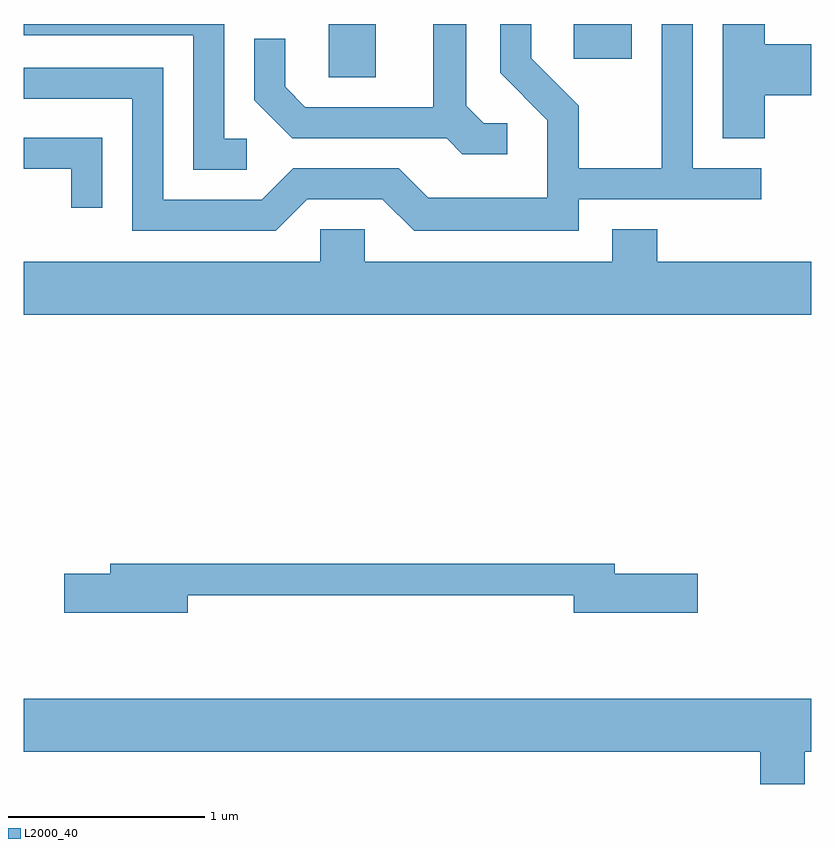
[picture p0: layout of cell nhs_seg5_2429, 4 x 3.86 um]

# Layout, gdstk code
import gdstk
lib = gdstk.Library(unit=1e-6, precision=1e-09)
def R(c, l, rs):  # rectangles x0, y0, x1, y1
    for r in rs: c.add(gdstk.rectangle(r[:2], r[2:], *l))
def P(c, l, *ps):  # polygons
    for p in ps: c.add(gdstk.Polygon(p, *l))
L2000_40 = (2000, 40)

nhs_seg5_2429 = lib.new_cell('nhs_seg5_2429')
R(nhs_seg5_2429, L2000_40, [(259.161,1435.801,259.399,1436.072), (260.406,1435.896,260.699,1436.072)])
P(nhs_seg5_2429, L2000_40, [(260.068,1435.569),(259.947,1435.569),(259.859,1435.657),(259.859,1436.072),(259.691,1436.072),(259.691,1435.649),(259.041,1435.649),(258.939,1435.752),(258.939,1435.998),(258.781,1435.998),(258.781,1435.684),(258.974,1435.491),(259.759,1435.491),(259.839,1435.411),(260.068,1435.411)],
  [(259.052,1435.181),(259.433,1435.181),(259.594,1435.021),(260.429,1435.021),(260.429,1435.181),(261.358,1435.181),(261.358,1435.339),(261.009,1435.339),(261.009,1436.072),(260.851,1436.072),(260.851,1435.339),(260.429,1435.339),(260.429,1435.657),(260.189,1435.897),(260.189,1436.072),(260.031,1436.072),(260.031,1435.824),(260.271,1435.584),(260.271,1435.189),(259.666,1435.189),(259.517,1435.339),(258.979,1435.339),(258.819,1435.179),(258.319,1435.179),(258.319,1435.849),(257.611,1435.849),(257.611,1435.691),(258.161,1435.691),(258.161,1435.021),(258.892,1435.021)],
  [(258.743,1435.489),(258.629,1435.489),(258.629,1436.072),(257.611,1436.072),(257.611,1436.016),(258.471,1436.016),(258.471,1435.331),(258.743,1435.331)],
  [(261.374,1435.711),(261.611,1435.711),(261.611,1435.969),(261.374,1435.969),(261.374,1436.072),(261.161,1436.072),(261.161,1435.491),(261.374,1435.491)],
  [(258.009,1435.494),(257.611,1435.494),(257.611,1435.336),(257.851,1435.336),(257.851,1435.138),(258.009,1435.138)],
  [(261.611,1434.864),(260.829,1434.864),(260.829,1435.029),(260.601,1435.029),(260.601,1434.864),(259.344,1434.864),(259.344,1435.029),(259.116,1435.029),(259.116,1434.864),(257.611,1434.864),(257.611,1434.596),(261.611,1434.596)],
  [(258.444,1433.171),(260.406,1433.171),(260.406,1433.081),(261.034,1433.081),(261.034,1433.279),(260.614,1433.279),(260.614,1433.329),(258.051,1433.329),(258.051,1433.279),(257.816,1433.279),(257.816,1433.081),(258.444,1433.081)],
  [(261.579,1432.376),(261.611,1432.376),(261.611,1432.644),(257.611,1432.644),(257.611,1432.376),(261.351,1432.376),(261.351,1432.211),(261.579,1432.211)])

lib.write_gds('nhs_seg5_2429.gds')
